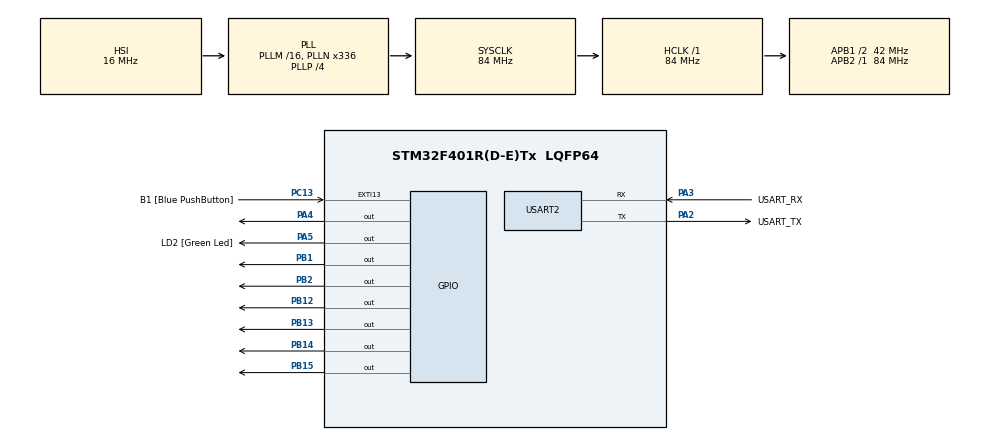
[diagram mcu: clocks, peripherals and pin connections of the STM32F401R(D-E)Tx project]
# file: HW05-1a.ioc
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Mcu.Family=STM32F4
Mcu.Name=STM32F401R(D-E)Tx
Mcu.Package=LQFP64
NVIC.PriorityGroup=NVIC_PRIORITYGROUP_4
NVIC.USART2_IRQn=true\:0\:0\:false\:false\:true\:true\:true\:true
PA13.GPIO_Label=TMS
PA13.Mode=Trace_Asynchronous_SW
PA13.Signal=SYS_JTMS-SWDIO
PA14.GPIO_Label=TCK
PA14.Mode=Trace_Asynchronous_SW
PA14.Signal=SYS_JTCK-SWCLK
PA2.GPIO_Label=USART_TX
PA2.GPIO_Mode=GPIO_MODE_AF_PP
PA2.GPIO_PuPd=GPIO_NOPULL
PA2.GPIO_Speed=GPIO_SPEED_FREQ_LOW
PA2.Mode=Asynchronous
PA2.Signal=USART2_TX
PA3.GPIO_Label=USART_RX
PA3.GPIO_Mode=GPIO_MODE_AF_PP
PA3.GPIO_PuPd=GPIO_NOPULL
PA3.GPIO_Speed=GPIO_SPEED_FREQ_LOW
PA3.Mode=Asynchronous
PA3.Signal=USART2_RX
PA4.Signal=GPIO_Output
PA5.GPIO_Label=LD2 [Green Led]
PA5.GPIO_Mode=GPIO_MODE_OUTPUT_PP
PA5.GPIO_PuPd=GPIO_NOPULL
PA5.GPIO_Speed=GPIO_SPEED_FREQ_LOW
PA5.Signal=GPIO_Output
PB1.Signal=GPIO_Output
PB12.Signal=GPIO_Output
PB13.Signal=GPIO_Output
PB14.Signal=GPIO_Output
PB15.Signal=GPIO_Output
PB2.Signal=GPIO_Output
PB3.GPIO_Label=SWO
PB3.Mode=Trace_Asynchronous_SW
PB3.Signal=SYS_JTDO-SWO
PC13-ANTI_TAMP.GPIO_Label=B1 [Blue PushButton]
PC13-ANTI_TAMP.GPIO_ModeDefaultEXTI=GPIO_MODE_IT_FALLING
PC13-ANTI_TAMP.GPIO_PuPd=GPIO_NOPULL
PC13-ANTI_TAMP.Signal=GPXTI13
PC14-OSC32_IN.Mode=LSE-External-Oscillator
PC14-OSC32_IN.Signal=RCC_OSC32_IN
PC15-OSC32_OUT.Mode=LSE-External-Oscillator
PC15-OSC32_OUT.Signal=RCC_OSC32_OUT
PH0\ -\ OSC_IN.Mode=HSE-External-Clock-Source
PH0\ -\ OSC_IN.Signal=RCC_OSC_IN
PH1\ -\ OSC_OUT.Mode=HSE-External-Clock-Source
PH1\ -\ OSC_OUT.Signal=RCC_OSC_OUT
ProjectManager.HeapSize=0x200
ProjectManager.StackSize=0x400
ProjectManager.TargetToolchain=STM32CubeIDE
RCC.48MHZClocksFreq_Value=48000000
RCC.AHBFreq_Value=84000000
RCC.APB1CLKDivider=RCC_HCLK_DIV2
RCC.APB1Freq_Value=42000000
RCC.APB1TimFreq_Value=84000000
RCC.APB2Freq_Value=84000000
RCC.APB2TimFreq_Value=84000000
RCC.CortexFreq_Value=84000000
RCC.HCLKFreq_Value=84000000
RCC.HSE_VALUE=8000000
RCC.HSI_VALUE=16000000
RCC.PLLN=336
RCC.PLLP=RCC_PLLP_DIV4
RCC.PLLQ=7
RCC.SYSCLKFreq_VALUE=84000000
RCC.SYSCLKSource=RCC_SYSCLKSOURCE_PLLCLK
RCC.VCOOutputFreq_Value=336000000
USART2.VirtualMode=VM_ASYNC
board=NUCLEO-F401RE

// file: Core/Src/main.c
/* USER CODE BEGIN Header */
/**
  ******************************************************************************
  * @file           : main.c
  * @brief          : Main program body
  ******************************************************************************
  * @attention
  *
  * Copyright (c) 2026 STMicroelectronics.
  * All rights reserved.
  *
  * This software is licensed under terms that can be found in the LICENSE file
  * in the root directory of this software component.
  * If no LICENSE file comes with this software, it is provided AS-IS.
  *
  ******************************************************************************
  */
/* USER CODE END Header */
#include "main.h"

/* USER CODE BEGIN Includes */

#include "PMDB16_LCD.h"

/* USER CODE END Includes */

/* USER CODE BEGIN PD */

#define RX_BUFFER_SIZE 16

/* USER CODE END PD */

UART_HandleTypeDef huart2;

/* USER CODE BEGIN PV */

// UART reception buffer and index
char rx_buffer[RX_BUFFER_SIZE + 1];
volatile uint8_t rx_index = 0;

/* USER CODE END PV */

void SystemClock_Config(void);
static void MX_GPIO_Init(void);
static void MX_USART2_UART_Init(void);

int main(void)
{

  /* MCU Configuration--------------------------------------------------------*/

  /* Reset of all peripherals, Initializes the Flash interface and the Systick. */
  HAL_Init();

  /* Configure the system clock */
  SystemClock_Config();

  /* Initialize all configured peripherals */
  MX_GPIO_Init();
  MX_USART2_UART_Init();
  /* USER CODE BEGIN 2 */

  // Initialize the LCD
  lcd_initialize();

  // Start UART in interrupt mode
  HAL_UARTEx_ReceiveToIdle_IT(&huart2, (uint8_t*)rx_buffer, RX_BUFFER_SIZE);

  /* USER CODE END 2 */

  /* Infinite loop */
  while (1)
  {

  }
}

void SystemClock_Config(void)
{
  RCC_OscInitTypeDef RCC_OscInitStruct = {0};
  RCC_ClkInitTypeDef RCC_ClkInitStruct = {0};

  /** Configure the main internal regulator output voltage
  */
  __HAL_RCC_PWR_CLK_ENABLE();
  __HAL_PWR_VOLTAGESCALING_CONFIG(PWR_REGULATOR_VOLTAGE_SCALE2);

  /** Initializes the RCC Oscillators according to the specified parameters
  * in the RCC_OscInitTypeDef structure.
  */
  RCC_OscInitStruct.OscillatorType = RCC_OSCILLATORTYPE_HSI;
  RCC_OscInitStruct.HSIState = RCC_HSI_ON;
  RCC_OscInitStruct.HSICalibrationValue = RCC_HSICALIBRATION_DEFAULT;
  RCC_OscInitStruct.PLL.PLLState = RCC_PLL_ON;
  RCC_OscInitStruct.PLL.PLLSource = RCC_PLLSOURCE_HSI;
  RCC_OscInitStruct.PLL.PLLM = 16;
  RCC_OscInitStruct.PLL.PLLN = 336;
  RCC_OscInitStruct.PLL.PLLP = RCC_PLLP_DIV4;
  RCC_OscInitStruct.PLL.PLLQ = 7;
  if (HAL_RCC_OscConfig(&RCC_OscInitStruct) != HAL_OK)
  {
    Error_Handler();
  }

  /** Initializes the CPU, AHB and APB buses clocks
  */
  RCC_ClkInitStruct.ClockType = RCC_CLOCKTYPE_HCLK|RCC_CLOCKTYPE_SYSCLK
                              |RCC_CLOCKTYPE_PCLK1|RCC_CLOCKTYPE_PCLK2;
  RCC_ClkInitStruct.SYSCLKSource = RCC_SYSCLKSOURCE_PLLCLK;
  RCC_ClkInitStruct.AHBCLKDivider = RCC_SYSCLK_DIV1;
  RCC_ClkInitStruct.APB1CLKDivider = RCC_HCLK_DIV2;
  RCC_ClkInitStruct.APB2CLKDivider = RCC_HCLK_DIV1;

  if (HAL_RCC_ClockConfig(&RCC_ClkInitStruct, FLASH_LATENCY_2) != HAL_OK)
  {
    Error_Handler();
  }
}

static void MX_USART2_UART_Init(void)
{

  huart2.Instance = USART2;
  huart2.Init.BaudRate = 115200;
  huart2.Init.WordLength = UART_WORDLENGTH_8B;
  huart2.Init.StopBits = UART_STOPBITS_1;
  huart2.Init.Parity = UART_PARITY_NONE;
  huart2.Init.Mode = UART_MODE_TX_RX;
  huart2.Init.HwFlowCtl = UART_HWCONTROL_NONE;
  huart2.Init.OverSampling = UART_OVERSAMPLING_16;
  if (HAL_UART_Init(&huart2) != HAL_OK)
  {
    Error_Handler();
  }

}

static void MX_GPIO_Init(void)
{
  GPIO_InitTypeDef GPIO_InitStruct = {0};

  /* GPIO Ports Clock Enable */
  __HAL_RCC_GPIOC_CLK_ENABLE();
  __HAL_RCC_GPIOH_CLK_ENABLE();
  __HAL_RCC_GPIOA_CLK_ENABLE();
  __HAL_RCC_GPIOB_CLK_ENABLE();

  /*Configure GPIO pin Output Level */
  HAL_GPIO_WritePin(GPIOA, GPIO_PIN_4|LD2_Pin, GPIO_PIN_RESET);

  /*Configure GPIO pin Output Level */
  HAL_GPIO_WritePin(GPIOB, GPIO_PIN_1|GPIO_PIN_2|GPIO_PIN_12|GPIO_PIN_13
                          |GPIO_PIN_14|GPIO_PIN_15, GPIO_PIN_RESET);

  /*Configure GPIO pin : B1_Pin */
  GPIO_InitStruct.Pin = B1_Pin;
  GPIO_InitStruct.Mode = GPIO_MODE_IT_FALLING;
  GPIO_InitStruct.Pull = GPIO_NOPULL;
  HAL_GPIO_Init(B1_GPIO_Port, &GPIO_InitStruct);

  /*Configure GPIO pins : PA4 LD2_Pin */
  GPIO_InitStruct.Pin = GPIO_PIN_4|LD2_Pin;
  GPIO_InitStruct.Mode = GPIO_MODE_OUTPUT_PP;
  GPIO_InitStruct.Pull = GPIO_NOPULL;
  GPIO_InitStruct.Speed = GPIO_SPEED_FREQ_LOW;
  HAL_GPIO_Init(GPIOA, &GPIO_InitStruct);

  /*Configure GPIO pins : PB1 PB2 PB12 PB13
                           PB14 PB15 */
  GPIO_InitStruct.Pin = GPIO_PIN_1|GPIO_PIN_2|GPIO_PIN_12|GPIO_PIN_13
                          |GPIO_PIN_14|GPIO_PIN_15;
  GPIO_InitStruct.Mode = GPIO_MODE_OUTPUT_PP;
  GPIO_InitStruct.Pull = GPIO_NOPULL;
  GPIO_InitStruct.Speed = GPIO_SPEED_FREQ_LOW;
  HAL_GPIO_Init(GPIOB, &GPIO_InitStruct);

}

/* USER CODE BEGIN 4 */

// This callback is automatically called when the UART goes to idle or hits the buffer limit
void HAL_UARTEx_RxEventCallback(UART_HandleTypeDef *huart, uint16_t Size)
{
  if (huart->Instance == USART2) {

    // Update global tracking index with the new chunk of data
    rx_index += Size;

    // Check if we hit Enter or if the buffer is completely full
    if (rx_buffer[rx_index - 1] == '\n' || rx_buffer[rx_index - 1] == '\r' || rx_index >= RX_BUFFER_SIZE) {

      if (rx_buffer[rx_index - 1] == '\n' || rx_buffer[rx_index - 1] == '\r') {

        // Override the enter with the null terminator
        rx_buffer[rx_index - 1] = '\0';

        // Check if there is a '\r' before the '\n'
        if (rx_index > 1 && rx_buffer[rx_index - 2] == '\r') {
          rx_buffer[rx_index - 2] = '\0';
        }

      } else {

        // Cap the buffer with the null terminator
        rx_buffer[rx_index] = '\0';
      }

      // Print the new string to LCD
      lcd_println(rx_buffer, 0);

      // Reset the index
      rx_index = 0;

      // Restart the interrupt for the new string
      HAL_UARTEx_ReceiveToIdle_IT(&huart2, (uint8_t *)rx_buffer, RX_BUFFER_SIZE);

    } else {

      // Restart the interrupt with offset pointer
      HAL_UARTEx_ReceiveToIdle_IT(&huart2, (uint8_t *)&rx_buffer[rx_index], RX_BUFFER_SIZE - rx_index);

    }
  }
}

/* USER CODE END 4 */

void Error_Handler(void)
{
  __disable_irq();
  while (1)
  {
  }
}
